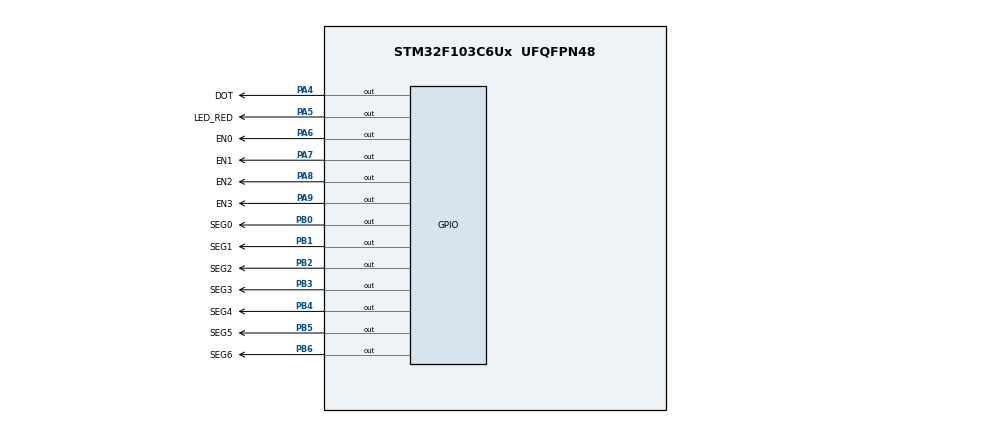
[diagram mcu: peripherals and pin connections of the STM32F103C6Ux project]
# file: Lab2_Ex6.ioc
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Mcu.Family=STM32F1
Mcu.Name=STM32F103C6Ux
Mcu.Package=UFQFPN48
NVIC.PriorityGroup=NVIC_PRIORITYGROUP_4
NVIC.TIM2_IRQn=true\:0\:0\:false\:false\:true\:true\:true
PA4.GPIO_Label=DOT
PA4.Signal=GPIO_Output
PA5.GPIO_Label=LED_RED
PA5.Signal=GPIO_Output
PA6.GPIO_Label=EN0
PA6.Signal=GPIO_Output
PA7.GPIO_Label=EN1
PA7.Signal=GPIO_Output
PA8.GPIO_Label=EN2
PA8.Signal=GPIO_Output
PA9.GPIO_Label=EN3
PA9.Signal=GPIO_Output
PB0.GPIO_Label=SEG0
PB0.Signal=GPIO_Output
PB1.GPIO_Label=SEG1
PB1.Signal=GPIO_Output
PB2.GPIO_Label=SEG2
PB2.Signal=GPIO_Output
PB3.GPIO_Label=SEG3
PB3.Signal=GPIO_Output
PB4.GPIO_Label=SEG4
PB4.Signal=GPIO_Output
PB5.GPIO_Label=SEG5
PB5.Signal=GPIO_Output
PB6.GPIO_Label=SEG6
PB6.Signal=GPIO_Output
ProjectManager.HeapSize=0x200
ProjectManager.StackSize=0x400
ProjectManager.TargetToolchain=STM32CubeIDE
RCC.APB1Freq_Value=8000000
RCC.APB2Freq_Value=8000000
TIM2.Period=9
TIM2.Prescaler=7999
VP_SYS_VS_ND.Mode=No_Debug
VP_TIM2_VS_ClockSourceINT.Mode=Internal
board=custom

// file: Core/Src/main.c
/* USER CODE BEGIN Header */
/**
  ******************************************************************************
  * @file           : main.c
  * @brief          : Main program body
  ******************************************************************************
  * @attention
  *
  * <h2><center>&copy; Copyright (c) 2026 STMicroelectronics.
  * All rights reserved.</center></h2>
  *
  * This software component is licensed by ST under BSD 3-Clause license,
  * the "License"; You may not use this file except in compliance with the
  * License. You may obtain a copy of the License at:
  *                        opensource.org/licenses/BSD-3-Clause
  *
  ******************************************************************************
  */
/* USER CODE END Header */
#include "main.h"

TIM_HandleTypeDef htim2;

/* USER CODE BEGIN PV */
const int MAX_LED = 4;
int index_led = 0;
int led_buffer[4] = {0, 0, 0, 0};

int timer_seg_counter = 25;  // 250ms
int timer_dot_counter = 100; // 1000ms

int hour = 15;
int minute = 8;
int second = 50;
/* USER CODE END PV */

void SystemClock_Config(void);
static void MX_GPIO_Init(void);
static void MX_TIM2_Init(void);
/* USER CODE BEGIN PFP */
void display7SEG(int num);
void update7SEG(int index);
void updateClockBuffer(void);
/* USER CODE END PFP */

/* USER CODE BEGIN 0 */
int timer0_counter = 0;
int timer0_flag = 0;
int TIMER_CYCLE = 10; //  Timer 2 10ms

void setTimer0(int duration) {
    timer0_counter = duration / TIMER_CYCLE;
    timer0_flag = 0;
}

void timer_run() {
    if (timer0_counter > 0) {
        timer0_counter--;
        if (timer0_counter == 0) {
            timer0_flag = 1;
        }
    }
}
/* USER CODE END 0 */

int main(void)
{

  /* MCU Configuration--------------------------------------------------------*/

  /* Reset of all peripherals, Initializes the Flash interface and the Systick. */
  HAL_Init();

  /* Configure the system clock */
  SystemClock_Config();

  /* Initialize all configured peripherals */
  MX_GPIO_Init();
  MX_TIM2_Init();
  /* USER CODE BEGIN 2 */
  // Function prototype
  HAL_TIM_Base_Start_IT (& htim2 );

  HAL_GPIO_WritePin(GPIOA, EN0_Pin | EN1_Pin | EN2_Pin | EN3_Pin, GPIO_PIN_SET);
  setTimer0(1000);
  //Update initial val to led_buff
  updateClockBuffer();
  /* USER CODE END 2 */

  /* Infinite loop */
  /* USER CODE BEGIN WHILE */
  while (1)
  {
	  if (timer0_flag == 1) {
		  	  	  HAL_GPIO_TogglePin(LED_RED_GPIO_Port, LED_RED_Pin); // Toggle PA5 LED state
	              setTimer0(2000); // Reset the next timeout to 2000ms (2 seconds).
	        }
    /* USER CODE END WHILE */

  }
}

void SystemClock_Config(void)
{
  RCC_OscInitTypeDef RCC_OscInitStruct = {0};
  RCC_ClkInitTypeDef RCC_ClkInitStruct = {0};

  /** Initializes the RCC Oscillators according to the specified parameters
  * in the RCC_OscInitTypeDef structure.
  */
  RCC_OscInitStruct.OscillatorType = RCC_OSCILLATORTYPE_HSI;
  RCC_OscInitStruct.HSIState = RCC_HSI_ON;
  RCC_OscInitStruct.HSICalibrationValue = RCC_HSICALIBRATION_DEFAULT;
  RCC_OscInitStruct.PLL.PLLState = RCC_PLL_NONE;
  if (HAL_RCC_OscConfig(&RCC_OscInitStruct) != HAL_OK)
  {
    Error_Handler();
  }
  /** Initializes the CPU, AHB and APB buses clocks
  */
  RCC_ClkInitStruct.ClockType = RCC_CLOCKTYPE_HCLK|RCC_CLOCKTYPE_SYSCLK
                              |RCC_CLOCKTYPE_PCLK1|RCC_CLOCKTYPE_PCLK2;
  RCC_ClkInitStruct.SYSCLKSource = RCC_SYSCLKSOURCE_HSI;
  RCC_ClkInitStruct.AHBCLKDivider = RCC_SYSCLK_DIV1;
  RCC_ClkInitStruct.APB1CLKDivider = RCC_HCLK_DIV1;
  RCC_ClkInitStruct.APB2CLKDivider = RCC_HCLK_DIV1;

  if (HAL_RCC_ClockConfig(&RCC_ClkInitStruct, FLASH_LATENCY_0) != HAL_OK)
  {
    Error_Handler();
  }
}

static void MX_TIM2_Init(void)
{

  TIM_ClockConfigTypeDef sClockSourceConfig = {0};
  TIM_MasterConfigTypeDef sMasterConfig = {0};

  htim2.Instance = TIM2;
  htim2.Init.Prescaler = 7999;
  htim2.Init.CounterMode = TIM_COUNTERMODE_UP;
  htim2.Init.Period = 9;
  htim2.Init.ClockDivision = TIM_CLOCKDIVISION_DIV1;
  htim2.Init.AutoReloadPreload = TIM_AUTORELOAD_PRELOAD_DISABLE;
  if (HAL_TIM_Base_Init(&htim2) != HAL_OK)
  {
    Error_Handler();
  }
  sClockSourceConfig.ClockSource = TIM_CLOCKSOURCE_INTERNAL;
  if (HAL_TIM_ConfigClockSource(&htim2, &sClockSourceConfig) != HAL_OK)
  {
    Error_Handler();
  }
  sMasterConfig.MasterOutputTrigger = TIM_TRGO_RESET;
  sMasterConfig.MasterSlaveMode = TIM_MASTERSLAVEMODE_DISABLE;
  if (HAL_TIMEx_MasterConfigSynchronization(&htim2, &sMasterConfig) != HAL_OK)
  {
    Error_Handler();
  }

}

static void MX_GPIO_Init(void)
{
  GPIO_InitTypeDef GPIO_InitStruct = {0};

  /* GPIO Ports Clock Enable */
  __HAL_RCC_GPIOA_CLK_ENABLE();
  __HAL_RCC_GPIOB_CLK_ENABLE();

  /*Configure GPIO pin Output Level */
  HAL_GPIO_WritePin(GPIOA, DOT_Pin|LED_RED_Pin|EN0_Pin|EN1_Pin
                          |EN2_Pin|EN3_Pin, GPIO_PIN_RESET);

  /*Configure GPIO pin Output Level */
  HAL_GPIO_WritePin(GPIOB, SEG0_Pin|SEG1_Pin|SEG2_Pin|SEG3_Pin
                          |SEG4_Pin|SEG5_Pin|SEG6_Pin, GPIO_PIN_RESET);

  /*Configure GPIO pins : DOT_Pin LED_RED_Pin EN0_Pin EN1_Pin
                           EN2_Pin EN3_Pin */
  GPIO_InitStruct.Pin = DOT_Pin|LED_RED_Pin|EN0_Pin|EN1_Pin
                          |EN2_Pin|EN3_Pin;
  GPIO_InitStruct.Mode = GPIO_MODE_OUTPUT_PP;
  GPIO_InitStruct.Pull = GPIO_NOPULL;
  GPIO_InitStruct.Speed = GPIO_SPEED_FREQ_LOW;
  HAL_GPIO_Init(GPIOA, &GPIO_InitStruct);

  /*Configure GPIO pins : SEG0_Pin SEG1_Pin SEG2_Pin SEG3_Pin
                           SEG4_Pin SEG5_Pin SEG6_Pin */
  GPIO_InitStruct.Pin = SEG0_Pin|SEG1_Pin|SEG2_Pin|SEG3_Pin
                          |SEG4_Pin|SEG5_Pin|SEG6_Pin;
  GPIO_InitStruct.Mode = GPIO_MODE_OUTPUT_PP;
  GPIO_InitStruct.Pull = GPIO_NOPULL;
  GPIO_InitStruct.Speed = GPIO_SPEED_FREQ_LOW;
  HAL_GPIO_Init(GPIOB, &GPIO_InitStruct);

}

/* USER CODE BEGIN 4 */
void updateClockBuffer(void) {
    // hour: 15 -> led_buffer[0] = 1, led_buffer[1] = 5
    led_buffer[0] = hour / 10;
    led_buffer[1] = hour % 10;

    // minute: 8 -> led_buffer[2] = 0, led_buffer[3] = 8
    led_buffer[2] = minute / 10;
    led_buffer[3] = minute % 10;
}

void display7SEG(int num){
	//On = 0, OFF =1
	uint8_t hex_code[10] = {0x40 , 0x79 , 0x24 , 0x30 , 0x19 , 0x12 ,0x02 , 0x78 , 0x00 , 0x10 };

	if (num<0 || num>9) return;
	uint8_t code = hex_code[num];
	// Using shifting bit & AND logic to isolate the state of each pin
		HAL_GPIO_WritePin(GPIOB , SEG0_Pin, (( code >> 0) & 0x01 ) ? GPIO_PIN_SET : GPIO_PIN_RESET ) ;
		HAL_GPIO_WritePin(GPIOB , SEG1_Pin, (( code >> 1) & 0x01 ) ? GPIO_PIN_SET : GPIO_PIN_RESET ) ;
		HAL_GPIO_WritePin(GPIOB , SEG2_Pin, (( code >> 2) & 0x01 ) ? GPIO_PIN_SET : GPIO_PIN_RESET ) ;
		HAL_GPIO_WritePin(GPIOB , SEG3_Pin, (( code >> 3) & 0x01 ) ? GPIO_PIN_SET : GPIO_PIN_RESET ) ;
		HAL_GPIO_WritePin(GPIOB , SEG4_Pin, (( code >> 4) & 0x01 ) ? GPIO_PIN_SET : GPIO_PIN_RESET ) ;
		HAL_GPIO_WritePin(GPIOB , SEG5_Pin, (( code >> 5) & 0x01 ) ? GPIO_PIN_SET : GPIO_PIN_RESET ) ;
		HAL_GPIO_WritePin(GPIOB , SEG6_Pin, (( code >> 6) & 0x01 ) ? GPIO_PIN_SET : GPIO_PIN_RESET ) ;

}

void update7SEG(int index) {
    // Turn off all four LEDs before turning on a new one to prevent light bleed.
    HAL_GPIO_WritePin(EN0_GPIO_Port, EN0_Pin, GPIO_PIN_SET);
    HAL_GPIO_WritePin(EN1_GPIO_Port, EN1_Pin, GPIO_PIN_SET);
    HAL_GPIO_WritePin(EN2_GPIO_Port, EN2_Pin, GPIO_PIN_SET);
    HAL_GPIO_WritePin(EN3_GPIO_Port, EN3_Pin, GPIO_PIN_SET);

    switch (index) {
        case 0:
            display7SEG(led_buffer[0]);
            HAL_GPIO_WritePin(EN0_GPIO_Port, EN0_Pin, GPIO_PIN_RESET);
            break;
        case 1:
            display7SEG(led_buffer[1]);
            HAL_GPIO_WritePin(EN1_GPIO_Port, EN1_Pin, GPIO_PIN_RESET);
            break;
        case 2:
            display7SEG(led_buffer[2]);
            HAL_GPIO_WritePin(EN2_GPIO_Port, EN2_Pin, GPIO_PIN_RESET);
            break;
        case 3:
            display7SEG(led_buffer[3]);
            HAL_GPIO_WritePin(EN3_GPIO_Port, EN3_Pin, GPIO_PIN_RESET);
            break;
        default:
            break;
    }
}

void HAL_TIM_PeriodElapsedCallback(TIM_HandleTypeDef *htim) {
    if (htim->Instance == TIM2) {

    	 timer_run();
        //DOT
        timer_dot_counter--;
        if (timer_dot_counter <= 0) {
            timer_dot_counter = 100;
            HAL_GPIO_TogglePin(DOT_GPIO_Port, DOT_Pin);
        }

        // scan 7segment update7SEG
        timer_seg_counter--;
        if (timer_seg_counter <= 0) {
            timer_seg_counter = 25;

            update7SEG(index_led);
            index_led++;
            if (index_led >= MAX_LED) {
                index_led = 0;
            }
        }
    }
}
/* USER CODE END 4 */

void Error_Handler(void)
{
  __disable_irq();
  while (1)
  {
  }
}

/************************ (C) COPYRIGHT STMicroelectronics *****END OF FILE****/
